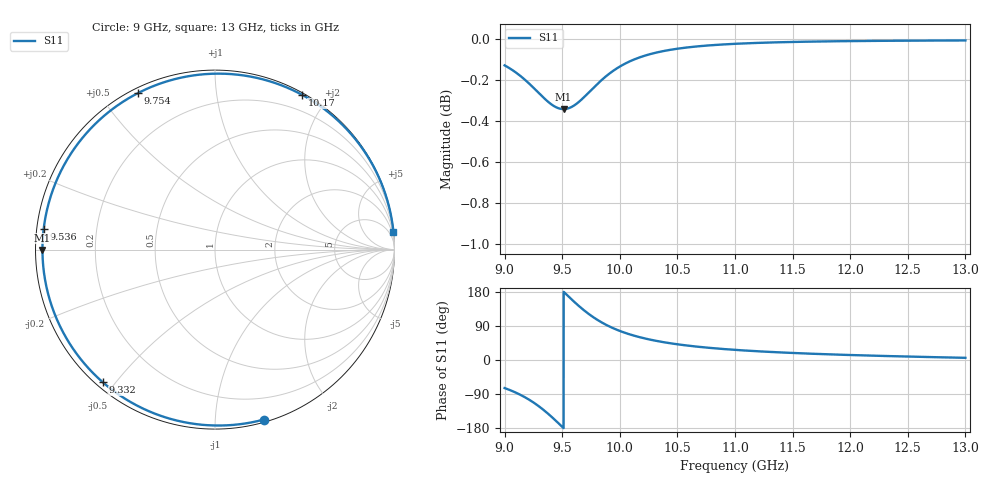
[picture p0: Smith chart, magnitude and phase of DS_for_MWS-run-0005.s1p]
! TOUCHSTONE file generated by CST DESIGN STUDIO
! Date and time: Tue Feb  4 17:45:03 2025
! Project name: C:\Work\MatlabApps\UnitCellOptimizationMatlab\CST\unitcell.cst
! Tree item: Tasks\Sweep1\SPara1\S-Parameters
! Header version: 2024
! Port assignment regex: !\s*Touchstone port\s*([0-9]+)\s*=\s*(CST MWS port|CST DES external port|CST DES block port)\s*(.+)\s* \(\"(.*)\"\)(\s*mode\s*([0-9]+))?.*
! Touchstone port assignment:
! Touchstone port 1 = CST DES external port 1 ("")
# GHz S MA R 50
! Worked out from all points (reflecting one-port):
!   4001 points, 9 GHz to 13 GHz, reference 50 ohm
!   lowest |S11| = -0.3 dB at 9.512 GHz (marker M1), VSWR 50.79, Z = 0.984 - j0.0667 ohm
!   phase of S11 starts at -74 deg and turns -280 deg over the sweep
!   S11 on the Smith chart (normalised r, x): 9 GHz: 0.02, -1.33; 9.332 GHz: 0.02, -0.46; 9.536 GHz: 0.02, +0.06; 9.754 GHz: 0.02, +0.62; 10.17 GHz: 0.02, +1.71; 13 GHz: 0, +20
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9  0.9852 -74.0
9.089  0.9817 -84.9
9.193  0.9764 -101.2
9.266  0.972 -115.3
9.332  0.9679 -130.3
9.377  0.9653 -141.6
9.424  0.9632 -154.4
9.463  0.962 -165.5
9.5  0.9614 -176.3
9.512  0.9614 -179.8
9.536  0.9615 173.1
9.59  0.9628 157.5
9.65  0.9655 141.1
9.701  0.9685 128.3
9.754  0.9718 116.3
9.805  0.975 106.0
9.861  0.9782 96.1
10  0.9845 76.7
10.08  0.9872 68.2
10.166  0.9895 60.7
10.318  0.9923 50.4
10.5  0.9944 41.5
10.722  0.996 33.7
11  0.9972 26.7
11.5  0.9982 18.6
12  0.9987 13.1
12.5  0.9989 9.1
13  0.999 5.8
